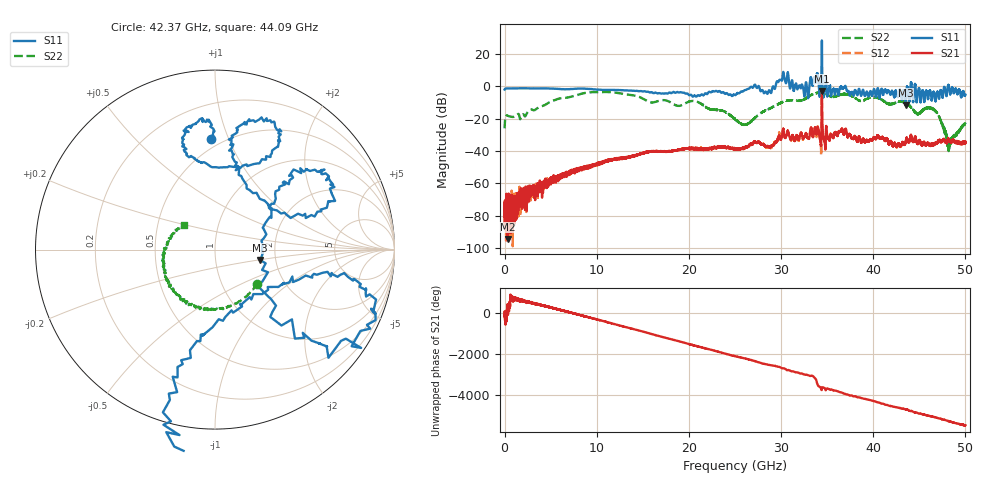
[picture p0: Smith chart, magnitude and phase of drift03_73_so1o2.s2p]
!Created with skrf (http://scikit-rf.org).
# Hz S RI R 50.0
!freq ReS11 ImS11 ReS21 ImS21 ReS12 ImS12 ReS22 ImS22
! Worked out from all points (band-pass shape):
!   10000 points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, 5.3 MHz to 50 GHz, reference 50 ohm
!   highest |S21| = -3.03 dB at 34.43 GHz (marker M1); lowest = -94.3 dB at 330.3 MHz (marker M2)
!   |S21| within 3 dB of the highest: 34.42733 GHz to 34.43447 GHz (7.143 MHz wide, 0.0207 % of centre)
!   lowest |S11| = -11.7 dB at 43.53 GHz (marker M3), VSWR 1.70, Z = 82.9 - j10.2 ohm
!   |S11| at or under -10 dB: 43.48562 GHz to 43.54438 GHz (58.76 MHz wide, 0.135 % of centre); 43.55106 GHz to 43.55563 GHz (4.575 MHz wide, 0.0105 % of centre); 44.70973 GHz to 44.71008 GHz (348 kHz wide, 0.000778 % of centre) (the widest 3 of 4)
!   |S22| runs from -40.1 to -3.6 dB; largest |S21 - S12| = 0.22
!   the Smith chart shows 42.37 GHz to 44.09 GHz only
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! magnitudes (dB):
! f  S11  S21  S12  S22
! 5.3 MHz  -2.1  -87.1  -78.3  -26.1
! 330.3 MHz  -1.4  -94.3  -75.5  -18.2
! 2.98 GHz  -1.4  -64.5  -64.6  -14.5
! 8.34 GHz  -1.5  -51.3  -51.0  -4.7
! 16.67 GHz  -4.4  -40.3  -40.3  -9.2
! 20.75 GHz  -6.3  -38.6  -38.9  -9.3
! 25.01 GHz  -5.5  -39.0  -38.9  -20.4
! 26.22 GHz  -2.2  -37.6  -37.6  -23.7
! 27.38 GHz  -1.1  -34.7  -35.0  -18.5
! 28.72 GHz  -2.5  -37.7  -37.6  -14.1
! 30.14 GHz  4.4  -29.4  -29.7  -9.9
! 32.74 GHz  2.0  -29.6  -29.3  -7.4
! 33.34 GHz  2.7  -27.5  -27.7  -5.2
! 33.82 GHz  4.0  -29.2  -29.6  -4.2
! 34.43 GHz  28.2  -3.0  -5.2  -3.9
! 36.49 GHz  -0.2  -28.0  -28.0  -5.2
! 41.67 GHz  -2.8  -35.5  -35.4  -10.9
! 43.53 GHz  -11.7  -34.2  -34.3  -10.3
! 44.78 GHz  -7.1  -35.1  -35.1  -17.1
! 46.7 GHz  -6.9  -35.6  -35.6  -15.1
! 48.22 GHz  -0.1  -32.8  -33.1  -37.4
! 50 GHz  -5.3  -34.4  -35.1  -23.4
